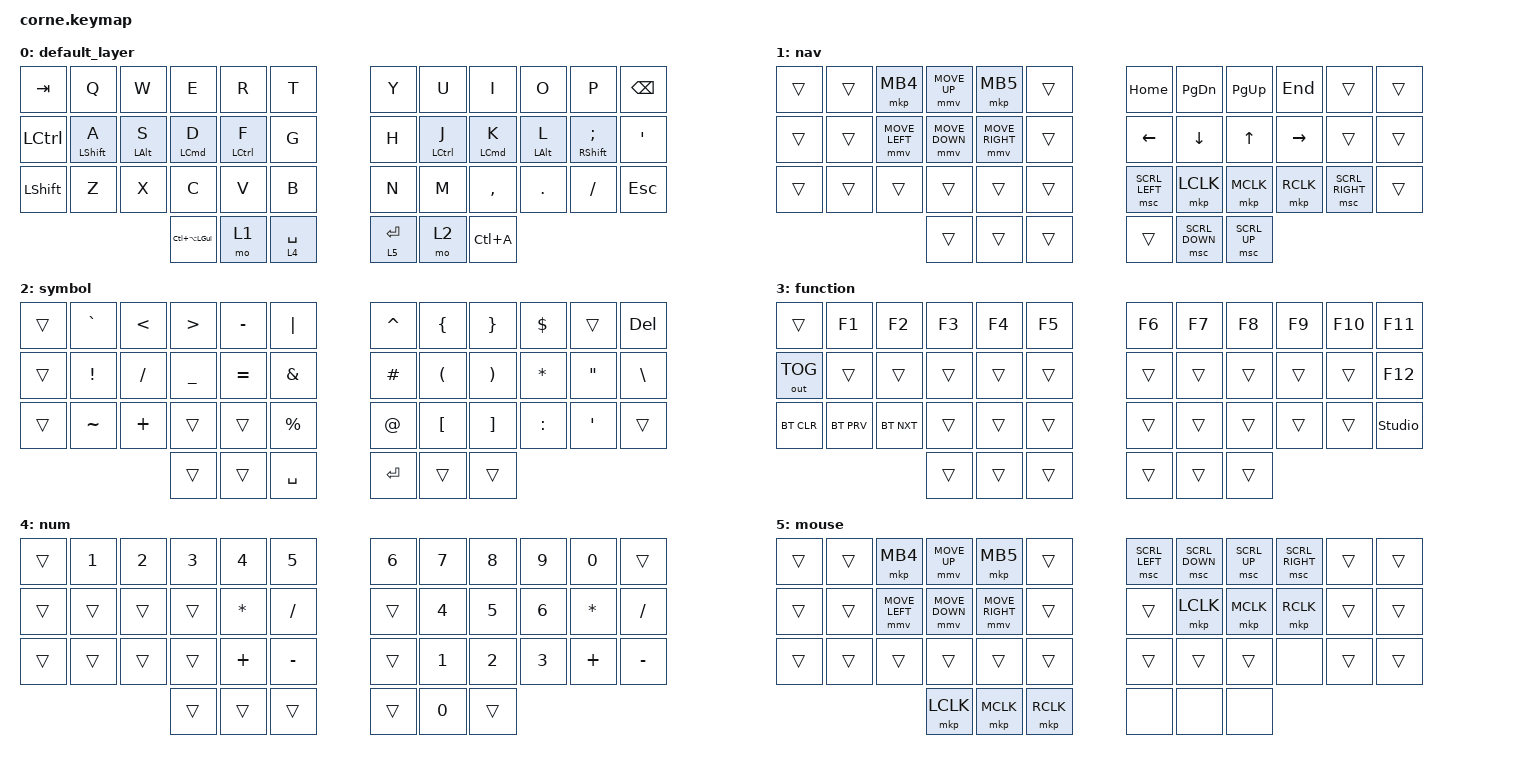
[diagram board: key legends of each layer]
/*
 * Copyright (c) 2020 The ZMK Contributors
 *
 * SPDX-License-Identifier: MIT
 */

#include <behaviors.dtsi>
#include <dt-bindings/zmk/bt.h>
#include <dt-bindings/zmk/keys.h>
#include <dt-bindings/zmk/outputs.h>
#include <dt-bindings/zmk/pointing.h>

/ {
    combos {
        compatible = "zmk,combos";

        layer-3 {
            bindings = <&mo 3>;
            key-positions = <37 40>;
        };

        escape {
            bindings = <&kp ESCAPE>;
            key-positions = <19 20>;
        };

        toogle-num {
            bindings = <&tog 4>;
            key-positions = <38 37>;
        };
    };

    macros {
        /**
         * Temporarily switches to a layer (`&mo`) while a modifier is held.
         * Analogous to QMK's `LM()`, using a parameterized macro.
         *
         * Params:
         *  1. Layer to switch to
         *  2. Modifier to press while layer is active
         *
         * Example:
         *  `&lm NUM_LAYER LSHIFT`
         */

        lm: lm {
            compatible = "zmk,behavior-macro-two-param";
            wait-ms = <0>;
            tap-ms = <0>;
            #binding-cells = <2>;
            bindings =
                <&macro_param_1to1>,
                <&macro_press>,
                <&mo MACRO_PLACEHOLDER &macro_param_2to1>,
                <&macro_press>,
                <&kp MACRO_PLACEHOLDER>,
                <&macro_pause_for_release>,
                <&macro_param_2to1>,
                <&macro_release>,
                <&kp MACRO_PLACEHOLDER &macro_param_1to1>,
                <&macro_release>,
                <&mo MACRO_PLACEHOLDER>;
        };

        shift_num_layer: shift_num_layer {
            compatible = "zmk,behavior-macro";
            #binding-cells = <0>;
            bindings =
                <&macro_press>,
                <&lm 1 LEFT_SHIFT>,
                <&macro_pause_for_release>,
                <&macro_release>,
                <&lm 1 LSHIFT>;

            label = "SHIFT_NUM_LAYER";
        };
    };

    behaviors {
        shift_num_layer_when_held: shift_num_layer_when_held {
            compatible = "zmk,behavior-hold-tap";
            label = "SHIFT_NUM_LAYER_WHEN_HELD";
            bindings = <&shift_num_layer>, <&kp>;

            #binding-cells = <2>;
            flavor = "tap-preferred";
            tapping-term-ms = <200>;
        };

        enter_or_mouse: enter_or_mouse {
            compatible = "zmk,behavior-hold-tap";
            label = "ENTER_OR_MOUSE";
            bindings = <&mo>, <&kp>;

            #binding-cells = <2>;
            tapping-term-ms = <200>;
            flavor = "tap-preferred";
        };

        home_row_left: home_row_left {
            compatible = "zmk,behavior-hold-tap";
            label = "HOME_ROW_LEFT";
            bindings = <&kp>, <&kp>;

            #binding-cells = <2>;
            tapping-term-ms = <260>;
            require-prior-idle-ms = <120>;
            flavor = "balanced";
            quick-tap-ms = <200>;
            hold-trigger-on-release;
            hold-trigger-key-positions = <30 6 18 19 31 32 6 7 8 9 10 11 18 19 20 21 22 23 30 31 32 33 34 35 39 40 41>;
        };

        home_row_right: home_row_right {
            compatible = "zmk,behavior-hold-tap";
            label = "HOME_ROW_RIGHT";
            bindings = <&kp>, <&kp>;

            #binding-cells = <2>;
            tapping-term-ms = <260>;
            flavor = "balanced";
            quick-tap-ms = <200>;
            require-prior-idle-ms = <120>;
            hold-trigger-on-release;
            hold-trigger-key-positions = <0 1 2 3 4 5 12 13 14 15 16 17 24 25 26 27 28 29 36 38 37>;
        };

        auto_shift: auto_shift {
            compatible = "zmk,behavior-hold-tap";
            label = "AUTO_SHIFT";
            bindings = <&kp>, <&kp>;

            #binding-cells = <2>;
            tapping-term-ms = <150>;
            quick-tap-ms = <0>;
            flavor = "tap-preferred";
        };
    };

    keymap {
        compatible = "zmk,keymap";

        default_layer {
            // -----------------------------------------------------------------------------------------
            // |  TAB |  Q  |  W  |  E  |  R  |  T  |   |  Y  |  U   |  I  |  O  |  P  | BKSP |
            // | CTRL |  A  |  S  |  D  |  F  |  G  |   |  H  |  J   |  K  |  L  |  ;  |  '   |
            // | SHFT |  Z  |  X  |  C  |  V  |  B  |   |  N  |  M   |  ,  |  .  |  /  | ESC  |
            //                    | GUI | LWR | SPC |   | ENT | RSE  | ALT |

            bindings = <
&kp TAB         &kp Q                        &kp W                      &kp E                          &kp R                   &kp T                      &kp Y                    &kp U                    &kp I                           &kp O                       &kp P                             &kp BSPC
&kp LCTRL       &home_row_left LEFT_SHIFT A  &home_row_left LEFT_ALT S  &home_row_left LEFT_COMMAND D  &home_row_left LCTRL F  &kp G                      &kp H                    &home_row_right LCTRL J  &home_row_right LEFT_COMMAND K  &home_row_right LEFT_ALT L  &home_row_right RIGHT_SHIFT SEMI  &kp SQT
&kp LEFT_SHIFT  &kp Z                        &kp X                      &kp C                          &kp V                   &kp B                      &kp N                    &kp M                    &kp COMMA                       &kp DOT                     &kp FSLH                          &kp ESC
                                                                        &kp LC(LA(LGUI))               &mo 1                   &enter_or_mouse 4 SPACE    &enter_or_mouse 5 ENTER  &mo 2                    &kp LC(A)
            >;
        };

        nav {
            // -----------------------------------------------------------------------------------------
            // |  TAB |  1  |  2  |  3  |  4  |  5  |   |  6  |  7  |  8  |  9  |  0  | BKSP |
            // | BTCLR| BT1 | BT2 | BT3 | BT4 | BT5 |   | LFT | DWN |  UP | RGT |     |      |
            // | SHFT |     |     |     |     |     |   |     |     |     |     |     |      |
            //                    | GUI |     | SPC |   | ENT |     | ALT |

            bindings = <
&trans  &trans  &mkp MB4        &mmv MOVE_UP    &mkp MB5         &trans    &kp HOME        &kp PAGE_DOWN   &kp PAGE_UP   &kp END    &trans           &trans
&trans  &trans  &mmv MOVE_LEFT  &mmv MOVE_DOWN  &mmv MOVE_RIGHT  &trans    &kp LEFT        &kp DOWN        &kp UP        &kp RIGHT  &trans           &trans
&trans  &trans  &trans          &trans          &trans           &trans    &msc SCRL_LEFT  &mkp LCLK       &mkp MCLK     &mkp RCLK  &msc SCRL_RIGHT  &trans
                                &trans          &trans           &trans    &trans          &msc SCRL_DOWN  &msc SCRL_UP
            >;
        };

        symbol {
            // -----------------------------------------------------------------------------------------
            // |  TAB |  !  |  @  |  #  |  $  |  %  |   |  ^  |  &  |  *  |  (  |  )  | BKSP |
            // | CTRL |     |     |     |     |     |   |  -  |  =  |  [  |  ]  |  \  |  `   |
            // | SHFT |     |     |     |     |     |   |  _  |  +  |  {  |  }  | "|" |  ~   |
            //                    | GUI |     | SPC |   | ENT |     | ALT |

            bindings = <
&trans  &kp GRAVE        &kp LESS_THAN  &kp GREATER_THAN  &kp MINUS  &kp PIPE         &kp CARET    &kp LEFT_BRACE        &kp RIGHT_BRACE        &kp DOLLAR    &trans             &kp DELETE
&trans  &kp EXCLAMATION  &kp SLASH      &kp UNDERSCORE    &kp EQUAL  &kp AMPERSAND    &kp HASH     &kp LEFT_PARENTHESIS  &kp RIGHT_PARENTHESIS  &kp ASTERISK  &kp DOUBLE_QUOTES  &kp BACKSLASH
&trans  &kp TILDE        &kp PLUS       &trans            &trans     &kp PERCENT      &kp AT_SIGN  &kp LEFT_BRACKET      &kp RIGHT_BRACKET      &kp COLON     &kp SINGLE_QUOTE   &trans
                                        &trans            &trans     &kp SPACE        &kp RET      &trans                &trans
            >;
        };

        function {
            bindings = <
&trans        &kp F1      &kp F2      &kp F3  &kp F4  &kp F5    &kp F6  &kp F7  &kp F8  &kp F9  &kp F10  &kp F11
&out OUT_TOG  &trans      &trans      &trans  &trans  &trans    &trans  &trans  &trans  &trans  &trans   &kp F12
&bt BT_CLR    &bt BT_PRV  &bt BT_NXT  &trans  &trans  &trans    &trans  &trans  &trans  &trans  &trans   &studio_unlock
                                      &trans  &trans  &trans    &trans  &trans  &trans
            >;
        };

        num {
            bindings = <
&trans  &kp N1  &kp N2  &kp N3  &kp N4        &kp N5       &kp N6  &kp N7  &kp N8  &kp N9  &kp N0        &trans
&trans  &trans  &trans  &trans  &kp ASTERISK  &kp SLASH    &trans  &kp N4  &kp N5  &kp N6  &kp ASTERISK  &kp SLASH
&trans  &trans  &trans  &trans  &kp PLUS      &kp MINUS    &trans  &kp N1  &kp N2  &kp N3  &kp PLUS      &kp MINUS
                        &trans  &trans        &trans       &trans  &kp N0  &trans
            >;
        };

        mouse {
            bindings = <
&trans  &trans  &mkp MB4        &mmv MOVE_UP    &mkp MB5         &trans       &msc SCRL_LEFT  &msc SCRL_DOWN  &msc SCRL_UP  &msc SCRL_RIGHT  &trans  &trans
&trans  &trans  &mmv MOVE_LEFT  &mmv MOVE_DOWN  &mmv MOVE_RIGHT  &trans       &trans          &mkp LCLK       &mkp MCLK     &mkp RCLK        &trans  &trans
&trans  &trans  &trans          &trans          &trans           &trans       &trans          &trans          &trans        &none            &trans  &trans
                                &mkp LCLK       &mkp MCLK        &mkp RCLK    &none           &none           &none
            >;
        };
    };
};
